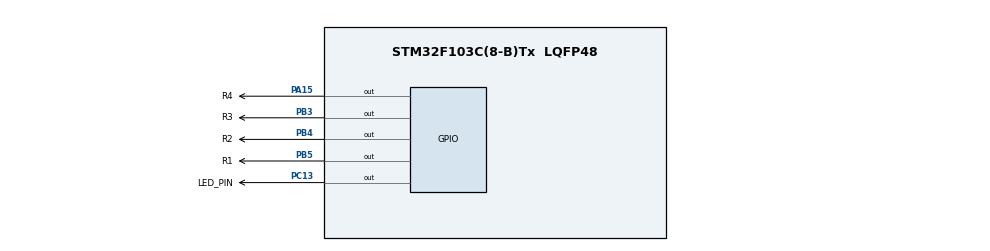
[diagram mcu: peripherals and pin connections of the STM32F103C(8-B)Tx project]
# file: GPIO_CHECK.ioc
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Mcu.Family=STM32F1
Mcu.Name=STM32F103C(8-B)Tx
Mcu.Package=LQFP48
NVIC.PriorityGroup=NVIC_PRIORITYGROUP_4
PA13.Mode=Serial_Wire
PA13.Signal=SYS_JTMS-SWDIO
PA14.Mode=Serial_Wire
PA14.Signal=SYS_JTCK-SWCLK
PA15.GPIO_Label=R4
PA15.Signal=GPIO_Output
PB3.GPIO_Label=R3
PB3.Signal=GPIO_Output
PB4.GPIO_Label=R2
PB4.Signal=GPIO_Output
PB5.GPIO_Label=R1
PB5.Signal=GPIO_Output
PC13-TAMPER-RTC.GPIO_Label=LED_PIN
PC13-TAMPER-RTC.Signal=GPIO_Output
ProjectManager.HeapSize=0x200
ProjectManager.StackSize=0x400
ProjectManager.TargetToolchain=STM32CubeIDE
RCC.APB1Freq_Value=8000000
RCC.APB2Freq_Value=8000000
board=custom

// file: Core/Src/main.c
/* USER CODE BEGIN Header */
/**
 ******************************************************************************
 * @file           : main.c
 * @brief          : Main program body
 ******************************************************************************
 * @attention
 *
 * Copyright (c) 2023 STMicroelectronics.
 * All rights reserved.
 *
 * This software is licensed under terms that can be found in the LICENSE file
 * in the root directory of this software component.
 * If no LICENSE file comes with this software, it is provided AS-IS.
 *
 ******************************************************************************
 */
/* USER CODE END Header */
#include "main.h"

void SystemClock_Config(void);
static void MX_GPIO_Init(void);

int main(void) {

	/* MCU Configuration--------------------------------------------------------*/

	/* Reset of all peripherals, Initializes the Flash interface and the Systick. */
	HAL_Init();

	/* Configure the system clock */
	SystemClock_Config();

	/* Initialize all configured peripherals */
	MX_GPIO_Init();
	/* USER CODE BEGIN 2 */
	HAL_GPIO_WritePin(R1_GPIO_Port, R1_Pin, GPIO_PIN_SET);
	HAL_Delay(1000);
	HAL_GPIO_WritePin(R2_GPIO_Port, R2_Pin, GPIO_PIN_SET);
	HAL_Delay(1000);
	HAL_GPIO_WritePin(R3_GPIO_Port, R3_Pin, GPIO_PIN_SET);
	HAL_Delay(1000);
	HAL_GPIO_WritePin(R4_GPIO_Port, R4_Pin, GPIO_PIN_SET);
	HAL_Delay(1000);
	/* USER CODE END 2 */

	/* Infinite loop */
	while (1) {

		/* USER CODE BEGIN 3 */
		HAL_GPIO_TogglePin(R1_GPIO_Port, R1_Pin);
		HAL_Delay(500);
		HAL_GPIO_TogglePin(R2_GPIO_Port, R2_Pin);
		HAL_Delay(500);
		HAL_GPIO_TogglePin(R3_GPIO_Port, R3_Pin);
		HAL_Delay(500);
		HAL_GPIO_TogglePin(R4_GPIO_Port, R4_Pin);
//		HAL_Delay(500);
		HAL_GPIO_TogglePin(LED_PIN_GPIO_Port, LED_PIN_Pin);
		HAL_Delay(500);
	}
	/* USER CODE END 3 */
}

void SystemClock_Config(void) {
	RCC_OscInitTypeDef RCC_OscInitStruct = { 0 };
	RCC_ClkInitTypeDef RCC_ClkInitStruct = { 0 };

	/** Initializes the RCC Oscillators according to the specified parameters
	 * in the RCC_OscInitTypeDef structure.
	 */
	RCC_OscInitStruct.OscillatorType = RCC_OSCILLATORTYPE_HSI;
	RCC_OscInitStruct.HSIState = RCC_HSI_ON;
	RCC_OscInitStruct.HSICalibrationValue = RCC_HSICALIBRATION_DEFAULT;
	RCC_OscInitStruct.PLL.PLLState = RCC_PLL_NONE;
	if (HAL_RCC_OscConfig(&RCC_OscInitStruct) != HAL_OK) {
		Error_Handler();
	}

	/** Initializes the CPU, AHB and APB buses clocks
	 */
	RCC_ClkInitStruct.ClockType = RCC_CLOCKTYPE_HCLK | RCC_CLOCKTYPE_SYSCLK
			| RCC_CLOCKTYPE_PCLK1 | RCC_CLOCKTYPE_PCLK2;
	RCC_ClkInitStruct.SYSCLKSource = RCC_SYSCLKSOURCE_HSI;
	RCC_ClkInitStruct.AHBCLKDivider = RCC_SYSCLK_DIV1;
	RCC_ClkInitStruct.APB1CLKDivider = RCC_HCLK_DIV1;
	RCC_ClkInitStruct.APB2CLKDivider = RCC_HCLK_DIV1;

	if (HAL_RCC_ClockConfig(&RCC_ClkInitStruct, FLASH_LATENCY_0) != HAL_OK) {
		Error_Handler();
	}
}

static void MX_GPIO_Init(void) {
	GPIO_InitTypeDef GPIO_InitStruct = { 0 };

	/* GPIO Ports Clock Enable */
	__HAL_RCC_GPIOC_CLK_ENABLE();
	__HAL_RCC_GPIOA_CLK_ENABLE();
	__HAL_RCC_GPIOB_CLK_ENABLE();

	/*Configure GPIO pin Output Level */
	HAL_GPIO_WritePin(LED_PIN_GPIO_Port, LED_PIN_Pin, GPIO_PIN_RESET);

	/*Configure GPIO pin Output Level */
	HAL_GPIO_WritePin(R4_GPIO_Port, R4_Pin, GPIO_PIN_RESET);

	/*Configure GPIO pin Output Level */
	HAL_GPIO_WritePin(GPIOB, R3_Pin | R2_Pin | R1_Pin, GPIO_PIN_RESET);

	/*Configure GPIO pin : LED_PIN_Pin */
	GPIO_InitStruct.Pin = LED_PIN_Pin;
	GPIO_InitStruct.Mode = GPIO_MODE_OUTPUT_PP;
	GPIO_InitStruct.Pull = GPIO_NOPULL;
	GPIO_InitStruct.Speed = GPIO_SPEED_FREQ_LOW;
	HAL_GPIO_Init(LED_PIN_GPIO_Port, &GPIO_InitStruct);

	/*Configure GPIO pin : R4_Pin */
	GPIO_InitStruct.Pin = R4_Pin;
	GPIO_InitStruct.Mode = GPIO_MODE_OUTPUT_PP;
	GPIO_InitStruct.Pull = GPIO_NOPULL;
	GPIO_InitStruct.Speed = GPIO_SPEED_FREQ_LOW;
	HAL_GPIO_Init(R4_GPIO_Port, &GPIO_InitStruct);

	/*Configure GPIO pins : R3_Pin R2_Pin R1_Pin */
	GPIO_InitStruct.Pin = R3_Pin | R2_Pin | R1_Pin;
	GPIO_InitStruct.Mode = GPIO_MODE_OUTPUT_PP;
	GPIO_InitStruct.Pull = GPIO_NOPULL;
	GPIO_InitStruct.Speed = GPIO_SPEED_FREQ_LOW;
	HAL_GPIO_Init(GPIOB, &GPIO_InitStruct);

}

void Error_Handler(void) {
	__disable_irq();
	while (1) {
	}
}
